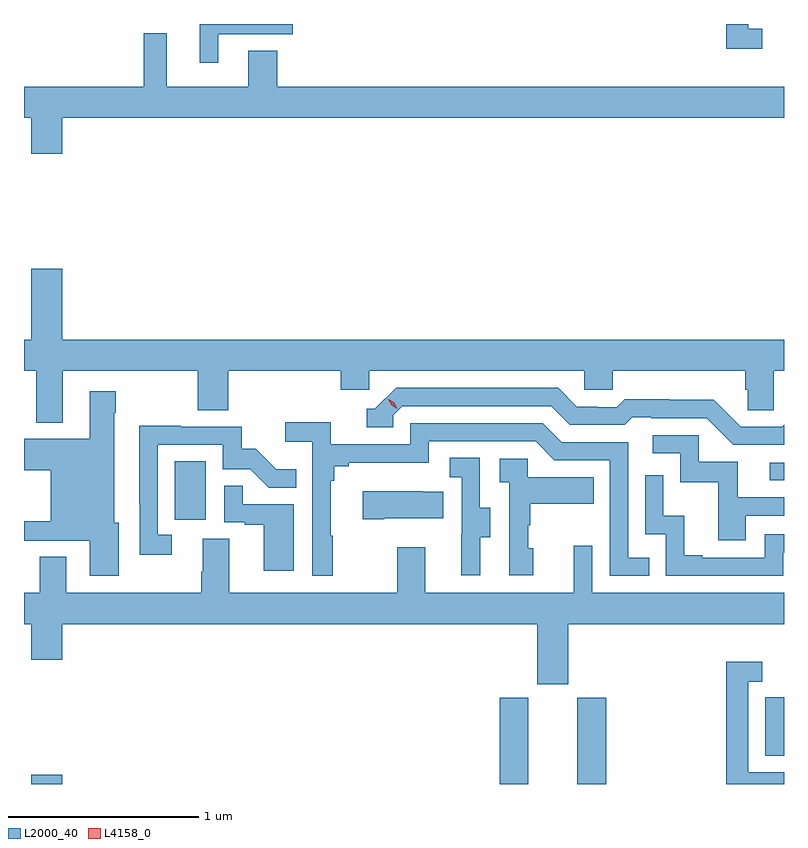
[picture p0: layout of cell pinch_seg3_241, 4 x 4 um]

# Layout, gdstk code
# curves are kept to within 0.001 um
import gdstk
lib = gdstk.Library(unit=1e-6, precision=1e-09)
def R(c, l, rs):  # rectangles x0, y0, x1, y1
    for r in rs: c.add(gdstk.rectangle(r[:2], r[2:], *l))
def P(c, l, *ps):  # polygons
    for p in ps: c.add(gdstk.Polygon(p, *l))
L2000_40 = (2000, 40)
L4158_0 = (4158, 0)

pinch_seg3_241 = lib.new_cell('pinch_seg3_241')
R(pinch_seg3_241, L2000_40, [(908.264,730.71,908.428,730.759), (910.73,730.71,910.882,731.163), (911.138,730.71,911.291,731.163), (912.128,730.86,912.227,731.167), (909.02,732.102,909.184,732.409), (912.153,732.309,912.227,732.402)])
P(pinch_seg3_241, L2000_40, [(912.112,734.685),(912.039,734.685),(912.039,734.71),(911.923,734.71),(911.923,734.58),(912.112,734.58)],
  [(909.25,734.655),(909.641,734.655),(909.641,734.71),(909.152,734.71),(909.152,734.505),(909.25,734.505)],
  [(908.428,734.216),(912.227,734.216),(912.227,734.38),(909.56,734.38),(909.56,734.57),(909.407,734.57),(909.407,734.38),(908.977,734.38),(908.977,734.662),(908.856,734.662),(908.856,734.38),(908.227,734.38),(908.227,734.216),(908.264,734.216),(908.264,734.028),(908.428,734.028)],
  [(908.264,733.048),(908.227,733.048),(908.227,732.884),(908.291,732.884),(908.291,732.611),(908.431,732.611),(908.431,732.884),(909.142,732.884),(909.142,732.676),(909.302,732.676),(909.302,732.884),(909.893,732.884),(909.893,732.786),(910.044,732.786),(910.044,732.884),(911.175,732.884),(911.175,732.786),(911.325,732.786),(911.325,732.884),(912.023,732.884),(912.023,732.786),(912.037,732.786),(912.037,732.676),(912.174,732.676),(912.174,732.884),(912.227,732.884),(912.227,733.048),(908.428,733.048),(908.428,733.423),(908.264,733.423)],
  [(912.227,732.602),(912.216,732.591),(912,732.591),(911.858,732.733),(911.622,732.733),(911.622,732.736),(911.389,732.736),(911.347,732.693),(911.244,732.693),(911.244,732.696),(911.137,732.696),(911.038,732.795),(910.185,732.795),(910.074,732.684),(910.031,732.684),(910.031,732.588),(910.17,732.588),(910.17,732.651),(910.218,732.699),(911.001,732.699),(911.1,732.6),(911.389,732.6),(911.428,732.639),(911.527,732.639),(911.527,732.636),(911.82,732.636),(911.961,732.495),(912.227,732.495)],
  [(908.725,732.084),(908.701,732.084),(908.701,732.665),(908.709,732.665),(908.709,732.778),(908.573,732.778),(908.573,732.526),(908.227,732.526),(908.227,732.362),(908.369,732.362),(908.369,732.092),(908.227,732.092),(908.227,731.991),(908.573,731.991),(908.573,731.805),(908.725,731.805)],
  [(909.853,732.017),(909.841,732.017),(909.841,732.305),(909.86,732.305),(909.86,732.382),(909.937,732.382),(909.937,732.401),(910.356,732.401),(910.356,732.513),(910.92,732.513),(911.019,732.414),(911.31,732.414),(911.31,731.805),(911.519,731.805),(911.519,731.901),(911.406,731.901),(911.406,732.51),(911.056,732.51),(910.957,732.609),(910.26,732.609),(910.26,732.498),(909.842,732.498),(909.842,732.614),(909.603,732.614),(909.603,732.512),(909.744,732.512),(909.744,731.805),(909.853,731.805)],
  [(909.004,732.021),(908.931,732.021),(908.931,732.495),(909.273,732.495),(909.273,732.366),(909.417,732.366),(909.515,732.268),(909.659,732.268),(909.659,732.367),(909.555,732.367),(909.448,732.474),(909.372,732.474),(909.372,732.591),(909.053,732.591),(909.053,732.596),(908.834,732.596),(908.835,731.916),(909.004,731.916)],
  [(912.025,732.123),(912.227,732.123),(912.227,732.219),(911.983,732.219),(911.983,732.405),(911.778,732.405),(911.778,732.546),(911.535,732.546),(911.535,732.45),(911.682,732.45),(911.682,732.297),(911.881,732.297),(911.881,731.994),(912.025,731.994)],
  [(910.627,732.01),(910.681,732.01),(910.681,732.165),(910.626,732.165),(910.626,732.428),(910.467,732.428),(910.467,732.325),(910.53,732.325),(910.53,732.021),(910.529,732.021),(910.529,731.808),(910.627,731.808)],
  [(910.906,731.952),(910.881,731.952),(910.881,732.071),(910.891,732.071),(910.891,732.185),(911.225,732.185),(911.225,732.325),(910.878,732.325),(910.878,732.423),(910.731,732.423),(910.731,732.299),(910.782,732.299),(910.782,731.808),(910.906,731.808)],
  [(912.222,731.928),(912.227,731.928),(912.227,732.024),(912.126,732.024),(912.126,731.901),(911.797,731.901),(911.797,731.914),(911.702,731.914),(911.702,732.122),(911.592,732.122),(911.592,732.334),(911.496,732.334),(911.496,732.024),(911.604,732.024),(911.604,731.805),(912.222,731.805)],
  [(909.646,732.183),(909.377,732.183),(909.377,732.281),(909.282,732.281),(909.282,732.087),(909.389,732.087),(909.389,732.075),(909.488,732.075),(909.488,731.832),(909.646,731.832)],
  [(910.123,732.11),(910.433,732.11),(910.433,732.247),(910.325,732.247),(910.325,732.25),(910.011,732.25),(910.011,732.103),(910.123,732.103)],
  [(911.092,731.552),(912.227,731.552),(912.227,731.716),(911.217,731.716),(911.217,731.965),(911.12,731.965),(911.12,731.716),(910.339,731.716),(910.339,731.956),(910.192,731.956),(910.192,731.716),(909.307,731.716),(909.307,732.002),(909.167,732.002),(909.167,731.828),(909.16,731.828),(909.16,731.716),(908.449,731.716),(908.449,731.906),(908.309,731.906),(908.309,731.716),(908.227,731.716),(908.227,731.552),(908.264,731.552),(908.264,731.364),(908.428,731.364),(908.428,731.552),(910.928,731.552),(910.928,731.235),(911.092,731.235)],
  [(912.227,730.773),(912.039,730.773),(912.039,731.247),(912.112,731.247),(912.112,731.353),(911.923,731.353),(911.923,730.71),(912.227,730.71)])
P(pinch_seg3_241, L4158_0, [(910.192,732.684),(910.162,732.703),(910.145,732.735),(910.145,732.736),(910.146,732.736),(910.176,732.716),(910.192,732.684),(910.192,732.684)])

lib.write_gds('pinch_seg3_241.gds')
